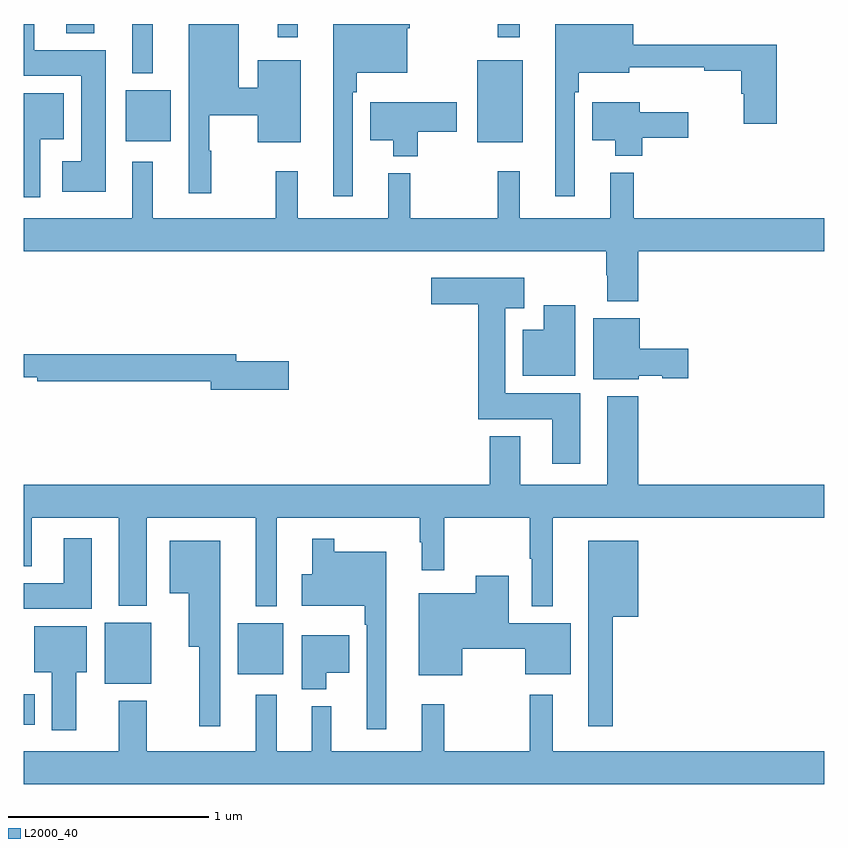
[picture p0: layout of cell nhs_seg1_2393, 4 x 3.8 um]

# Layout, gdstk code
import gdstk
lib = gdstk.Library(unit=1e-6, precision=1e-09)
def R(c, l, rs):  # rectangles x0, y0, x1, y1
    for r in rs: c.add(gdstk.rectangle(r[:2], r[2:], *l))
def P(c, l, *ps):  # polygons
    for p in ps: c.add(gdstk.Polygon(p, *l))
L2000_40 = (2000, 40)

nhs_seg1_2393 = lib.new_cell('nhs_seg1_2393')
R(nhs_seg1_2393, L2000_40, [(241,550.697,241.054,550.849), (241.403,550.901,241.636,551.206), (242.069,550.949,242.296,551.203), (243.266,553.607,243.493,554.017), (241.508,553.613,241.735,553.867), (241.541,553.952,241.645,554.199), (242.27,554.133,242.368,554.199), (243.369,554.133,243.478,554.199), (241.211,554.153,241.351,554.199)])
P(nhs_seg1_2393, L2000_40, [(243.753,553.859),(243.773,553.859),(243.773,553.955),(244.027,553.955),(244.027,553.984),(244.402,553.984),(244.402,553.966),(244.586,553.966),(244.586,553.851),(244.598,553.851),(244.598,553.701),(244.764,553.701),(244.764,554.095),(244.046,554.095),(244.046,554.199),(243.656,554.199),(243.656,553.338),(243.753,553.338)],
  [(241.408,554.068),(241.051,554.068),(241.051,554.199),(241,554.199),(241,553.94),(241.286,553.94),(241.286,553.513),(241.191,553.513),(241.191,553.361),(241.408,553.361)],
  [(241.937,553.566),(241.927,553.566),(241.927,553.744),(242.168,553.744),(242.168,553.607),(242.383,553.607),(242.383,554.017),(242.168,554.017),(242.168,553.88),(242.074,553.88),(242.074,554.199),(241.823,554.199),(241.823,553.353),(241.937,553.353)],
  [(242.643,553.859),(242.663,553.859),(242.663,553.955),(242.916,553.955),(242.916,554.177),(242.929,554.177),(242.929,554.199),(242.546,554.199),(242.546,553.338),(242.643,553.338)],
  [(241.081,553.622),(241.198,553.622),(241.198,553.852),(241,553.852),(241,553.332),(241.081,553.332)],
  [(242.968,553.66),(243.163,553.66),(243.163,553.807),(242.732,553.807),(242.732,553.619),(242.846,553.619),(242.846,553.538),(242.968,553.538)],
  [(244.091,553.63),(244.321,553.63),(244.321,553.759),(244.078,553.759),(244.078,553.807),(243.842,553.807),(243.842,553.619),(243.956,553.619),(243.956,553.541),(244.091,553.541)],
  [(244.07,553.064),(245,553.064),(245,553.228),(244.049,553.228),(244.049,553.456),(243.932,553.456),(243.932,553.228),(243.479,553.228),(243.479,553.462),(243.369,553.462),(243.369,553.228),(242.932,553.228),(242.932,553.453),(242.822,553.453),(242.822,553.228),(242.369,553.228),(242.369,553.462),(242.259,553.462),(242.259,553.228),(241.645,553.228),(241.645,553.51),(241.541,553.51),(241.541,553.228),(241,553.228),(241,553.064),(243.91,553.064),(243.91,552.944),(243.917,552.944),(243.917,552.812),(244.07,552.812)],
  [(243.781,552.352),(243.406,552.352),(243.406,552.779),(243.502,552.779),(243.502,552.931),(243.036,552.931),(243.036,552.797),(243.272,552.797),(243.272,552.224),(243.641,552.224),(243.641,552),(243.781,552)],
  [(243.757,552.793),(243.599,552.793),(243.599,552.67),(243.494,552.67),(243.494,552.44),(243.757,552.44)],
  [(244.074,552.44),(244.191,552.44),(244.191,552.428),(244.321,552.428),(244.321,552.575),(244.078,552.575),(244.078,552.727),(243.845,552.727),(243.845,552.422),(244.074,552.422)],
  [(242.323,552.512),(242.062,552.512),(242.062,552.548),(241,552.548),(241,552.432),(241.066,552.432),(241.066,552.412),(241.934,552.412),(241.934,552.37),(242.323,552.37)],
  [(242.263,551.732),(242.979,551.732),(242.979,551.609),(242.99,551.609),(242.99,551.469),(243.1,551.469),(243.1,551.732),(243.529,551.732),(243.529,551.527),(243.539,551.527),(243.539,551.288),(243.643,551.288),(243.643,551.732),(245,551.732),(245,551.896),(244.07,551.896),(244.07,552.337),(243.917,552.337),(243.917,551.896),(243.481,551.896),(243.481,552.139),(243.329,552.139),(243.329,551.896),(241,551.896),(241,551.489),(241.039,551.489),(241.039,551.732),(241.475,551.732),(241.475,551.291),(241.615,551.291),(241.615,551.732),(242.159,551.732),(242.159,551.288),(242.263,551.288)],
  [(241.339,551.629),(241.199,551.629),(241.199,551.404),(241,551.404),(241,551.276),(241.339,551.276)],
  [(242.812,551.56),(242.551,551.56),(242.551,551.626),(242.441,551.626),(242.441,551.449),(242.388,551.449),(242.388,551.291),(242.703,551.291),(242.703,551.195),(242.715,551.195),(242.715,550.674),(242.812,550.674)],
  [(243.943,551.237),(244.072,551.237),(244.072,551.617),(243.821,551.617),(243.821,550.689),(243.943,550.689)],
  [(241.981,551.617),(241.73,551.617),(241.73,551.354),(241.823,551.354),(241.823,551.087),(241.877,551.087),(241.877,550.689),(241.981,550.689)],
  [(243.19,551.075),(243.506,551.075),(243.506,550.949),(243.733,550.949),(243.733,551.203),(243.424,551.203),(243.424,551.44),(243.259,551.44),(243.259,551.353),(242.975,551.353),(242.975,550.943),(243.19,550.943)],
  [(241.261,550.958),(241.315,550.958),(241.315,551.188),(241.052,551.188),(241.052,550.958),(241.139,550.958),(241.139,550.668),(241.261,550.668)],
  [(242.512,550.955),(242.626,550.955),(242.626,551.143),(242.39,551.143),(242.39,550.874),(242.512,550.874)],
  [(245,550.564),(243.643,550.564),(243.643,550.846),(243.529,550.846),(243.529,550.564),(243.1,550.564),(243.1,550.798),(242.99,550.798),(242.99,550.564),(242.537,550.564),(242.537,550.789),(242.438,550.789),(242.438,550.564),(242.263,550.564),(242.263,550.846),(242.159,550.846),(242.159,550.564),(241.615,550.564),(241.615,550.816),(241.475,550.816),(241.475,550.564),(241,550.564),(241,550.4),(245,550.4)])

lib.write_gds('nhs_seg1_2393.gds')
